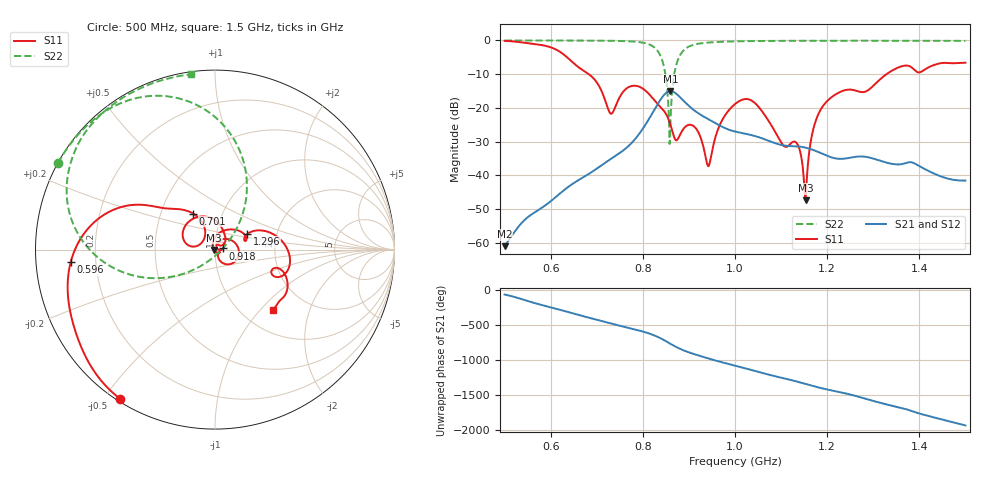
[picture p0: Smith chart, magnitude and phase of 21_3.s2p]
! TOUCHSTONE file generated by CST MICROWAVE STUDIO
! Date and time: Fri Oct 30 07:57:32 2020
! Project name: Scenario_1_Circular_Tissue_out_of_Line.cst
! Parameters = {dy1=0.82; L_HA=400; MT=2.54; Rad_Dielectric=30; Rad_Lower=7.3; Rad_Upper=30; a_HA=580; a_WG=246; b_HA=500; b_WG=121; c_HA=0; c_WG=187; d_feed=85; dx1=520; h_feed=15; h_lower=18; h_upper=40}
! Header version: 2018
! Port assignment regex: !\s*Touchstone port\s*([0-9]+)\s*=\s*(CST MWS port|CST DS port)\s*([0-9]+|Zmin|Zmax)\s*\(\"(.*)\"\)(\s*mode\s*([0-9]+))?.*
! Touchstone port assignment:
! Touchstone port 1 = CST MWS port 1 ("")
! Touchstone port 2 = CST MWS port 2 ("")
# GHz S DB R 50
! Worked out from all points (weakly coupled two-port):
!   1001 points, 500 MHz to 1.5 GHz, reference 50 ohm
!   highest |S21| = -15.05 dB at 860 MHz (marker M1); lowest = -60.9 dB at 500 MHz (marker M2)
!   lowest |S11| = -47.3 dB at 1.153 GHz (marker M3), VSWR 1.01, Z = 49.6 - j0.178 ohm
!   |S11| at or under -10 dB: 682.7 MHz to 1.329 GHz (646.1 MHz wide, 64.2 % of centre)
!   |S22| runs from -30.7 to 0.0 dB; largest |S21 - S12| = 8.1e-06
!   S11 on the Smith chart (normalised r, x): 500 MHz: 0.01, -0.55; 596 MHz: 0.11, -0.04; 701 MHz: 0.73, +0.31; 918 MHz: 1.10, +0.01; 1.296 GHz: 1.41, +0.26; 1.5 GHz: 1.36, -1.18
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0.5  -0.13 -122.5  -60.95 -59.9  -60.95 -59.9  -0.01 151.1
0.596  -1.86 -175.0  -48.07 124.2  -48.07 124.2  -0.02 144.4
0.667  -8.57 141.6  -40.85 -4.1  -40.85 -4.1  -0.04 138.3
0.701  -12.62 121.1  -37.89 -62.9  -37.89 -62.9  -0.07 134.7
0.731  -21.71 145.1  -35.06 -115.5  -35.06 -115.5  -0.11 130.7
0.777  -13.46 141.2  -30.17 169.2  -30.17 169.2  -0.31 121.1
0.834  -19.10 64.8  -18.45 48.2  -18.45 48.2  -3.48 84.0
0.86  -25.02 31.6  -15.05 -46.3  -15.05 -46.3  -24.20 -114.5
0.877  -28.96 59.4  -16.32 -106.8  -16.32 -106.8  -5.45 -166.7
0.918  -26.61 7.8  -21.35 152.6  -21.35 152.6  -1.04 158.7
0.943  -37.15 37.7  -23.40 102.6  -23.40 102.6  -0.62 150.5
0.967  -25.05 63.0  -25.22 57.6  -25.22 57.6  -0.42 145.4
1  -18.85 21.9  -26.98 1.7  -26.98 1.7  -0.27 140.2
1.037  -17.90 -33.8  -28.09 -63.9  -28.09 -63.9  -0.19 135.7
1.105  -31.11 -49.5  -31.08 -178.8  -31.08 -178.8  -0.12 129.2
1.133  -30.26 -35.9  -31.37 135.4  -31.37 135.4  -0.11 126.9
1.153  -47.31 -155.4  -31.76 99.2  -31.76 99.2  -0.10 125.3
1.167  -28.02 107.2  -32.33 73.8  -32.33 73.8  -0.10 124.2
1.208  -16.99 52.6  -34.58 7.6  -34.58 7.6  -0.08 121.0
1.296  -13.96 25.7  -34.84 -137.6  -34.84 -137.6  -0.09 114.3
1.334  -9.51 15.0  -36.38 157.4  -36.38 157.4  -0.08 111.4
1.5  -6.60 -46.3  -41.52 -136.2  -41.52 -136.1  -0.13 97.8
